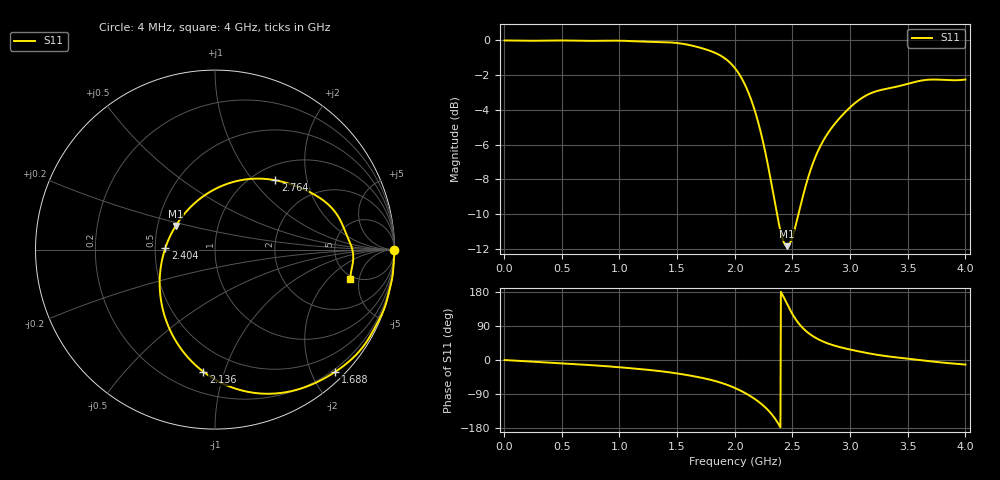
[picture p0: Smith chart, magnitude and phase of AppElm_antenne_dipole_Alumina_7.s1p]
! TOUCHSTONE file generated by CST MICROWAVE STUDIO
! Date and time: Sat May 14 10:02:59 2022
! Project name: AppElm_antenne_dipole_Alumina.cst
! Parameters = {L=33; e=0.035; f=2.45e+09; h=1.6; i=0.84; l1=2; lambda=122.449; ls=30; wl=1.7; ws=80}
! Header version: 2018
! Port assignment regex: !\s*Touchstone port\s*([0-9]+)\s*=\s*(CST MWS port|CST DS port)\s*([0-9]+|Zmin|Zmax)\s*\(\"(.*)\"\)(\s*mode\s*([0-9]+))?.*
! Touchstone port assignment:
! Touchstone port 1 = CST MWS port 1 ("")
# GHz S MA R 50
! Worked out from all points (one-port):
!   1000 points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, 4 MHz to 4 GHz, reference 50 ohm
!   lowest |S11| = -11.8 dB at 2.452 GHz (marker M1), VSWR 1.69, Z = 31.1 + j8.8 ohm
!   |S11| at or under -10 dB: 2.366 GHz to 2.552 GHz (185.9 MHz wide, 7.56 % of centre)
!   S11 on the Smith chart (normalised r, x): 4 MHz: open; 1.688 GHz: 0.15, -2.38; 2.136 GHz: 0.33, -0.85; 2.404 GHz: 0.57, +0.01; 2.764 GHz: 1.25, +1.31; 4 GHz: 4.69, -3.74
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0.004  1 -0.1
0.504  1 -8.7
1.004  0.9983 -19.2
1.316  0.9902 -28.1
1.504  0.9827 -35.6
1.688  0.9554 -45.4
1.776  0.936 -51.2
1.856  0.9124 -57.7
1.94  0.8744 -66.3
2.004  0.8304 -74.2
2.072  0.7649 -84.2
2.136  0.684 -95.4
2.212  0.5667 -111.4
2.276  0.4576 -128.4
2.34  0.3529 -150.9
2.404  0.2763 177.7
2.452  0.2558 148.9
2.504  0.2745 119.1
2.56  0.3241 94.5
2.62  0.3867 75.8
2.684  0.4488 61.6
2.764  0.5123 48.9
2.868  0.576 37.7
3.004  0.6437 27.3
3.208  0.7108 15.0
3.504  0.7509 3.5
3.684  0.7712 -2.9
4  0.7716 -12.1
